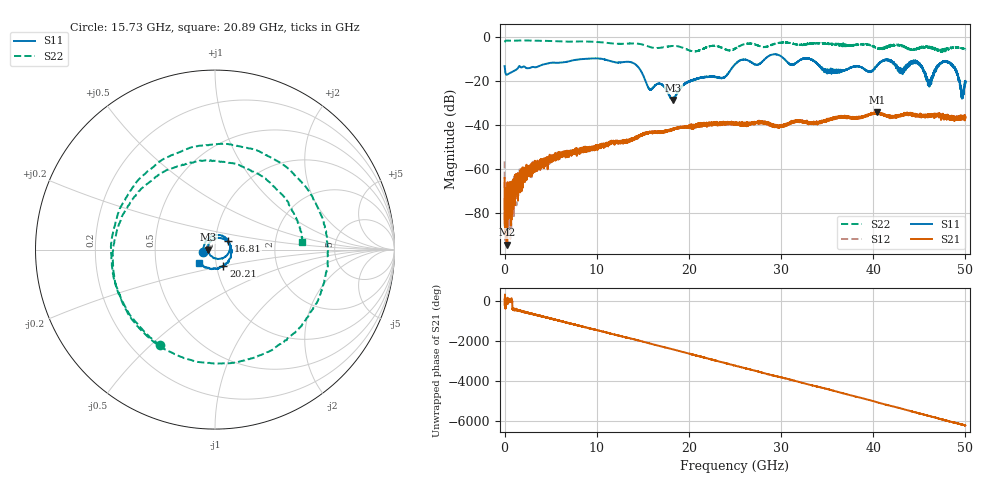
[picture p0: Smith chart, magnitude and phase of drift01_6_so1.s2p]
!Created with skrf (http://scikit-rf.org).
# Hz S RI R 50.0
!freq ReS11 ImS11 ReS21 ImS21 ReS12 ImS12 ReS22 ImS22
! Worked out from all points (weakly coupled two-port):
!   10001 points, 300 kHz to 50 GHz, reference 50 ohm
!   highest |S21| = -33.89 dB at 40.39 GHz (marker M1); lowest = -94.4 dB at 225.3 MHz (marker M2)
!   lowest |S11| = -28.4 dB at 18.32 GHz (marker M3), VSWR 1.08, Z = 46.4 - j0.102 ohm
!   |S11| at or under -10 dB: 10.89 GHz to 25.83 GHz (14.94 GHz wide, 81.4 % of centre); 33.27 GHz to 41.4 GHz (8.128 GHz wide, 21.8 % of centre); 41.4 GHz to end of sweep (the widest 3 of 14)
!   |S22| runs from -6.7 to -1.4 dB; largest |S21 - S12| = 0.0042
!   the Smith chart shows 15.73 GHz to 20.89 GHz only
!   S11 on the Smith chart (normalised r, x): 15.73 GHz: 0.88, -0.03; 16.81 GHz: 1.15, +0.12; 20.21 GHz: 1.08, -0.20; 20.89 GHz: 0.83, -0.13
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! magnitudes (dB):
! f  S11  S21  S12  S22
! 300 kHz  -13.0  -64.0  -56.4  -2.1
! 225.3 MHz  -16.9  -94.4  -72.1  -1.4
! 2.995 GHz  -13.5  -58.4  -58.7  -1.4
! 8.335 GHz  -9.9  -51.7  -51.9  -1.8
! 13.91 GHz  -11.5  -46.8  -46.1  -2.7
! 15.73 GHz  -23.6  -42.8  -43.4  -4.3
! 16.67 GHz  -21.0  -43.4  -43.0  -4.8
! 16.81 GHz  -21.0  -43.1  -43.4  -4.8
! 18.32 GHz  -28.4  -41.9  -41.6  -3.9
! 20.21 GHz  -19.7  -39.8  -40.5  -6.1
! 20.89 GHz  -18.6  -39.4  -40.5  -6.2
! 25 GHz  -12.2  -39.0  -39.2  -5.1
! 33.34 GHz  -10.2  -39.2  -39.2  -2.6
! 35.1 GHz  -15.6  -37.7  -37.7  -2.8
! 40.39 GHz  -12.9  -33.9  -34.4  -4.8
! 41.67 GHz  -10.5  -35.8  -35.9  -4.4
! 43.07 GHz  -14.7  -35.0  -35.4  -3.6
! 44.8 GHz  -11.4  -35.2  -35.1  -5.0
! 46.09 GHz  -22.4  -35.8  -35.5  -4.4
! 48.01 GHz  -10.9  -37.0  -36.1  -5.7
! 49.64 GHz  -26.1  -36.3  -36.3  -4.7
! 50 GHz  -20.8  -36.4  -36.7  -5.4
